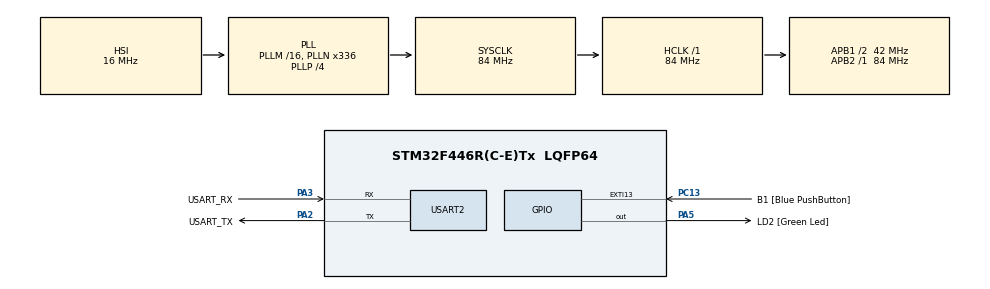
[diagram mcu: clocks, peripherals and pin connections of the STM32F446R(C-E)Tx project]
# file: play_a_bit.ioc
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Mcu.Family=STM32F4
Mcu.Name=STM32F446R(C-E)Tx
Mcu.Package=LQFP64
NVIC.PriorityGroup=NVIC_PRIORITYGROUP_0
NVIC.USART2_IRQn=true\:0\:0\:false\:false\:true\:true\:true\:true
PA13.GPIO_Label=TMS
PA13.Mode=Serial_Wire
PA13.Signal=SYS_JTMS-SWDIO
PA14.GPIO_Label=TCK
PA14.Mode=Serial_Wire
PA14.Signal=SYS_JTCK-SWCLK
PA2.GPIO_Label=USART_TX
PA2.Mode=Asynchronous
PA2.Signal=USART2_TX
PA3.GPIO_Label=USART_RX
PA3.Mode=Asynchronous
PA3.Signal=USART2_RX
PA5.GPIO_Label=LD2 [Green Led]
PA5.Signal=GPIO_Output
PB3.GPIO_Label=SWO
PB3.Signal=SYS_JTDO-SWO
PC13.GPIO_Label=B1 [Blue PushButton]
PC13.GPIO_ModeDefaultEXTI=GPIO_MODE_IT_FALLING
PC13.Signal=GPXTI13
PC14-OSC32_IN.Mode=LSE-External-Oscillator
PC14-OSC32_IN.Signal=RCC_OSC32_IN
PC15-OSC32_OUT.Mode=LSE-External-Oscillator
PC15-OSC32_OUT.Signal=RCC_OSC32_OUT
PH0-OSC_IN.Mode=HSE-External-Oscillator
PH0-OSC_IN.Signal=RCC_OSC_IN
PH1-OSC_OUT.Mode=HSE-External-Oscillator
PH1-OSC_OUT.Signal=RCC_OSC_OUT
ProjectManager.HeapSize=0x200
ProjectManager.StackSize=0x400
ProjectManager.TargetToolchain=STM32CubeIDE
RCC.48MHZClocksFreq_Value=84000000
RCC.AHBFreq_Value=84000000
RCC.APB1CLKDivider=RCC_HCLK_DIV2
RCC.APB1Freq_Value=42000000
RCC.APB1TimFreq_Value=84000000
RCC.APB2Freq_Value=84000000
RCC.APB2TimFreq_Value=84000000
RCC.CortexFreq_Value=84000000
RCC.FLatency-AdvancedSettings=FLASH_LATENCY_2
RCC.HCLKFreq_Value=84000000
RCC.HSE_VALUE=8000000
RCC.HSI_VALUE=16000000
RCC.PLLN=336
RCC.PLLP=RCC_PLLP_DIV4
RCC.SYSCLKFreq_VALUE=84000000
RCC.SYSCLKSource=RCC_SYSCLKSOURCE_PLLCLK
RCC.USBFreq_Value=168000000
RCC.VCOOutputFreq_Value=336000000
USART2.VirtualMode=VM_ASYNC
board=NUCLEO-F446RE

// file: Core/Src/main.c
/* USER CODE BEGIN Header */
/**
  ******************************************************************************
  * @file           : main.c
  * @brief          : Main program body
  ******************************************************************************
  * @attention
  *
  * Copyright (c) 2026 STMicroelectronics.
  * All rights reserved.
  *
  * This software is licensed under terms that can be found in the LICENSE file
  * in the root directory of this software component.
  * If no LICENSE file comes with this software, it is provided AS-IS.
  *
  ******************************************************************************
  */
/* USER CODE END Header */
#include "main.h"

/* USER CODE BEGIN Includes */
#include <stdio.h>
#define OFF 0
#define ON 1
/* USER CODE END Includes */

UART_HandleTypeDef huart2;

void SystemClock_Config(void);
static void MX_GPIO_Init(void);
static void MX_USART2_UART_Init(void);

/* USER CODE BEGIN 0 */

// Send printf to uart2
int _write(int fd, char* ptr, int len) {
  HAL_StatusTypeDef hstatus;

  if (fd == 1 || fd == 2) {
    hstatus = HAL_UART_Transmit(&huart2, (uint8_t *) ptr, len, HAL_MAX_DELAY);
    if (hstatus == HAL_OK)
      return len;
    else
      return -1;
  }
  return -1;
}

/* USER CODE END 0 */

int main(void)
{

  /* MCU Configuration--------------------------------------------------------*/

  /* Reset of all peripherals, Initializes the Flash interface and the Systick. */
  HAL_Init();

  /* Configure the system clock */
  SystemClock_Config();

  /* Initialize all configured peripherals */
  MX_GPIO_Init();
  MX_USART2_UART_Init();
  /* USER CODE BEGIN 2 */
  setvbuf(stdout, NULL, _IONBF, 0);

  printf("Hello World !!!");
  /* USER CODE END 2 */

  /* Infinite loop */
  /* USER CODE BEGIN WHILE */
  uint8_t switchOnOff = 0;
  GPIO_PinState lastButtonState = GPIO_PIN_RESET;
  GPIO_PinState userButtonState = GPIO_PIN_RESET;
  while (1)
  {
    userButtonState = HAL_GPIO_ReadPin(B1_GPIO_Port, B1_Pin);
    printf("- %d:%d(%d) -",userButtonState,lastButtonState,switchOnOff);
    /* USER CODE END WHILE */

    /* USER CODE BEGIN 3 */

    if(userButtonState == GPIO_PIN_SET && lastButtonState == GPIO_PIN_RESET){
        //printf("here %d   ",switchOnOff);
        switchOnOff = !switchOnOff;
    }
    lastButtonState = userButtonState;

    HAL_GPIO_WritePin(LD2_GPIO_Port, LD2_Pin, !switchOnOff);

    HAL_Delay(10);
  }
  /* USER CODE END 3 */
}

void SystemClock_Config(void)
{
  RCC_OscInitTypeDef RCC_OscInitStruct = {0};
  RCC_ClkInitTypeDef RCC_ClkInitStruct = {0};

  /** Configure the main internal regulator output voltage
  */
  __HAL_RCC_PWR_CLK_ENABLE();
  __HAL_PWR_VOLTAGESCALING_CONFIG(PWR_REGULATOR_VOLTAGE_SCALE3);

  /** Initializes the RCC Oscillators according to the specified parameters
  * in the RCC_OscInitTypeDef structure.
  */
  RCC_OscInitStruct.OscillatorType = RCC_OSCILLATORTYPE_HSI;
  RCC_OscInitStruct.HSIState = RCC_HSI_ON;
  RCC_OscInitStruct.HSICalibrationValue = RCC_HSICALIBRATION_DEFAULT;
  RCC_OscInitStruct.PLL.PLLState = RCC_PLL_ON;
  RCC_OscInitStruct.PLL.PLLSource = RCC_PLLSOURCE_HSI;
  RCC_OscInitStruct.PLL.PLLM = 16;
  RCC_OscInitStruct.PLL.PLLN = 336;
  RCC_OscInitStruct.PLL.PLLP = RCC_PLLP_DIV4;
  RCC_OscInitStruct.PLL.PLLQ = 2;
  RCC_OscInitStruct.PLL.PLLR = 2;
  if (HAL_RCC_OscConfig(&RCC_OscInitStruct) != HAL_OK)
  {
    Error_Handler();
  }

  /** Initializes the CPU, AHB and APB buses clocks
  */
  RCC_ClkInitStruct.ClockType = RCC_CLOCKTYPE_HCLK|RCC_CLOCKTYPE_SYSCLK
                              |RCC_CLOCKTYPE_PCLK1|RCC_CLOCKTYPE_PCLK2;
  RCC_ClkInitStruct.SYSCLKSource = RCC_SYSCLKSOURCE_PLLCLK;
  RCC_ClkInitStruct.AHBCLKDivider = RCC_SYSCLK_DIV1;
  RCC_ClkInitStruct.APB1CLKDivider = RCC_HCLK_DIV2;
  RCC_ClkInitStruct.APB2CLKDivider = RCC_HCLK_DIV1;

  if (HAL_RCC_ClockConfig(&RCC_ClkInitStruct, FLASH_LATENCY_2) != HAL_OK)
  {
    Error_Handler();
  }
}

static void MX_USART2_UART_Init(void)
{

  huart2.Instance = USART2;
  huart2.Init.BaudRate = 115200;
  huart2.Init.WordLength = UART_WORDLENGTH_8B;
  huart2.Init.StopBits = UART_STOPBITS_1;
  huart2.Init.Parity = UART_PARITY_NONE;
  huart2.Init.Mode = UART_MODE_TX_RX;
  huart2.Init.HwFlowCtl = UART_HWCONTROL_NONE;
  huart2.Init.OverSampling = UART_OVERSAMPLING_16;
  if (HAL_UART_Init(&huart2) != HAL_OK)
  {
    Error_Handler();
  }

}

static void MX_GPIO_Init(void)
{
  GPIO_InitTypeDef GPIO_InitStruct = {0};

  /* GPIO Ports Clock Enable */
  __HAL_RCC_GPIOC_CLK_ENABLE();
  __HAL_RCC_GPIOH_CLK_ENABLE();
  __HAL_RCC_GPIOA_CLK_ENABLE();
  __HAL_RCC_GPIOB_CLK_ENABLE();

  /*Configure GPIO pin Output Level */
  HAL_GPIO_WritePin(LD2_GPIO_Port, LD2_Pin, GPIO_PIN_RESET);

  /*Configure GPIO pin : B1_Pin */
  GPIO_InitStruct.Pin = B1_Pin;
  GPIO_InitStruct.Mode = GPIO_MODE_IT_FALLING;
  GPIO_InitStruct.Pull = GPIO_NOPULL;
  HAL_GPIO_Init(B1_GPIO_Port, &GPIO_InitStruct);

  /*Configure GPIO pin : LD2_Pin */
  GPIO_InitStruct.Pin = LD2_Pin;
  GPIO_InitStruct.Mode = GPIO_MODE_OUTPUT_PP;
  GPIO_InitStruct.Pull = GPIO_NOPULL;
  GPIO_InitStruct.Speed = GPIO_SPEED_FREQ_LOW;
  HAL_GPIO_Init(LD2_GPIO_Port, &GPIO_InitStruct);

}

void Error_Handler(void)
{
  __disable_irq();
  while (1)
  {
  }
}
